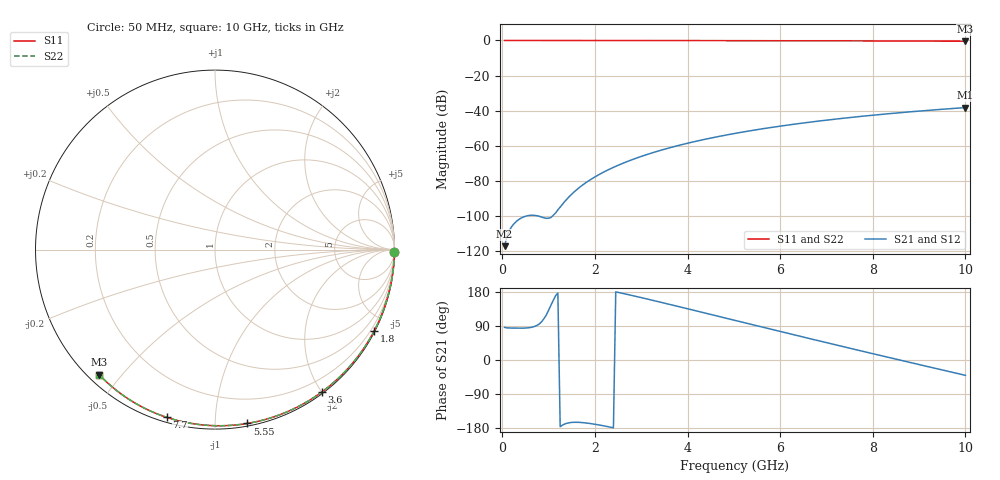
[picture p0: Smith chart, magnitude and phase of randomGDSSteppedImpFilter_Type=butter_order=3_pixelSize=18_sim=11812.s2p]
! freq	dB(S11)	phase(S11)	dB(S12)	phase(S12)
!  dB(S21)	phase(S21)	dB(S22)	phase(S22)
!S-par simulation data
#  GHz  S  DB  R 50
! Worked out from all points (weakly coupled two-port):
!   200 points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, 50 MHz to 10 GHz, reference 50 ohm
!   highest |S21| = -38.31 dB at 10 GHz (marker M1); lowest = -117.4 dB at 50 MHz (marker M2)
!   lowest |S11| = -0.4 dB at 10 GHz (marker M3), VSWR 38.83, Z = 1.53 - j21.9 ohm
!   |S11| at or under -10 dB: nowhere
!   |S22| runs from -0.4 to 0.0 dB; largest |S21 - S12| = 0
!   S11 on the Smith chart (normalised r, x): 50 MHz: open; 1.8 GHz: 0.04, -4.13; 3.6 GHz: 0.02, -2.00; 5.55 GHz: 0.02, -1.20; 7.7 GHz: 0.02, -0.75; 10 GHz: 0.03, -0.44
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0.05  -0.00 -0.8  -117.40 86.1  -117.40 86.1  -0.00 -0.8
0.9  -0.02 -13.7  -101.22 109.2  -101.22 109.2  -0.02 -13.7
1.75  -0.03 -26.5  -82.19 -165.4  -82.19 -165.4  -0.03 -26.5
1.8  -0.03 -27.2  -81.25 -166.0  -81.25 -166.0  -0.03 -27.2
1.85  -0.04 -28.0  -80.36 -166.8  -80.36 -166.8  -0.04 -28.0
1.9  -0.04 -28.7  -79.50 -167.6  -79.50 -167.6  -0.04 -28.7
2.05  -0.04 -30.9  -77.11 -170.6  -77.11 -170.6  -0.04 -30.9
2.25  -0.04 -33.9  -74.30 -175.1  -74.30 -175.1  -0.04 -33.9
2.45  -0.05 -36.8  -71.82 179.8  -71.82 179.8  -0.05 -36.8
2.65  -0.05 -39.7  -69.59 174.5  -69.59 174.5  -0.05 -39.7
3  -0.06 -44.7  -66.18 164.7  -66.18 164.7  -0.06 -44.7
3.4  -0.07 -50.4  -62.84 153.1  -62.84 153.1  -0.07 -50.4
3.6  -0.07 -53.2  -61.35 147.2  -61.35 147.2  -0.07 -53.2
4.3  -0.09 -62.9  -56.84 126.3  -56.84 126.3  -0.09 -62.9
5.05  -0.11 -72.9  -52.92 103.8  -52.92 103.8  -0.11 -72.9
5.55  -0.13 -79.5  -50.70 88.8  -50.70 88.8  -0.13 -79.5
6.1  -0.15 -86.5  -48.53 72.4  -48.53 72.4  -0.15 -86.5
6.7  -0.18 -94.0  -46.43 54.6  -46.43 54.6  -0.18 -94.0
7.7  -0.24 -106.1  -43.45 25.4  -43.45 25.4  -0.24 -106.1
8.35  -0.29 -113.7  -41.79 6.6  -41.79 6.6  -0.29 -113.7
9.15  -0.36 -123.0  -39.99 -16.3  -39.99 -16.3  -0.36 -123.0
10  -0.45 -132.7  -38.31 -40.5  -38.31 -40.5  -0.45 -132.7
